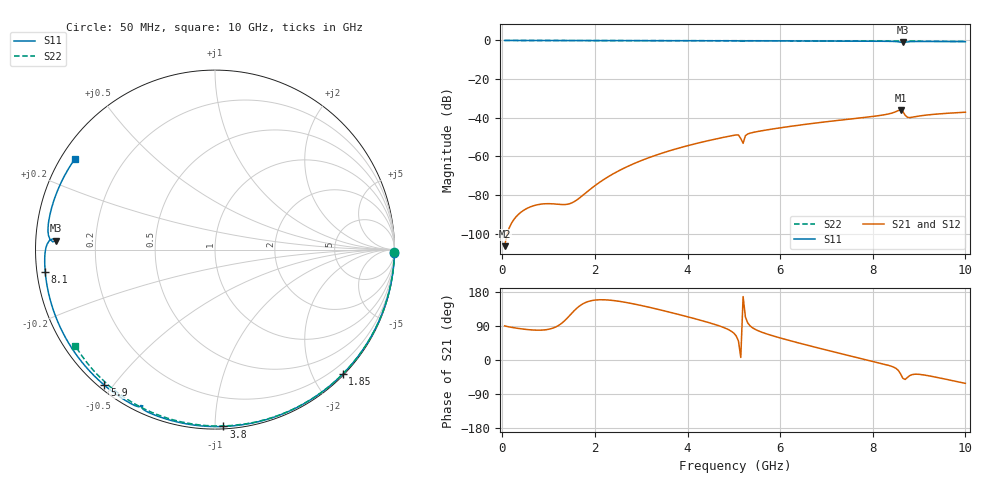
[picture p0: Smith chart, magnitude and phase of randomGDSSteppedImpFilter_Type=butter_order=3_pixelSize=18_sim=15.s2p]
! freq	dB(S11)	phase(S11)	dB(S12)	phase(S12)
!  dB(S21)	phase(S21)	dB(S22)	phase(S22)
!S-par simulation data
#  GHz  S  DB  R 50
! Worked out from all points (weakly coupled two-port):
!   200 points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, 50 MHz to 10 GHz, reference 50 ohm
!   highest |S21| = -35.93 dB at 8.6 GHz (marker M1); lowest = -106.4 dB at 50 MHz (marker M2)
!   lowest |S11| = -1.0 dB at 8.65 GHz (marker M3), VSWR 17.13, Z = 2.92 + j1.39 ohm
!   |S11| at or under -10 dB: nowhere
!   |S22| runs from -0.5 to 0.0 dB; largest |S21 - S12| = 0
!   S11 on the Smith chart (normalised r, x): 50 MHz: 0, -93; 1.85 GHz: 0.02, -2.46; 3.8 GHz: 0.01, -1.05; 5.9 GHz: 0.02, -0.48; 8.1 GHz: 0.02, -0.07; 10 GHz: 0.04, +0.30
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0.05  -0.00 -1.2  -106.37 90.1  -106.37 90.1  -0.00 -0.8
0.85  -0.03 -20.6  -84.57 78.9  -84.57 78.9  -0.02 -14.2
1.75  -0.05 -41.9  -79.85 148.9  -79.85 148.9  -0.04 -29.0
1.85  -0.06 -44.3  -77.89 154.1  -77.89 154.1  -0.04 -30.7
2.55  -0.08 -60.2  -66.96 154.4  -66.96 154.4  -0.05 -41.9
3.4  -0.10 -78.8  -58.65 132.6  -58.65 132.6  -0.07 -55.1
3.8  -0.12 -87.3  -55.73 120.5  -55.73 120.5  -0.08 -61.2
5.05  -0.19 -113.0  -48.87 63.7  -48.87 63.7  -0.12 -79.6
5.1  -0.21 -114.3  -48.88 49.9  -48.88 49.9  -0.13 -80.4
5.2  -0.36 -114.8  -53.19 167.3  -53.19 167.3  -0.13 -81.7
5.25  -0.23 -115.9  -49.21 113.1  -49.21 113.1  -0.13 -82.5
5.3  -0.20 -117.1  -48.36 97.7  -48.36 97.7  -0.13 -83.2
5.9  -0.22 -129.2  -45.54 61.7  -45.54 61.7  -0.16 -91.6
6.7  -0.28 -144.7  -42.89 35.5  -42.89 35.5  -0.20 -102.5
8.1  -0.41 -172.5  -38.98 -6.6  -38.98 -6.6  -0.30 -120.9
8.35  -0.46 -178.0  -37.95 -14.5  -37.95 -14.5  -0.32 -124.1
8.6  -0.88 176.1  -35.93 -36.5  -35.93 -36.5  -0.34 -127.4
8.65  -1.02 176.8  -36.78 -48.3  -36.78 -48.3  -0.34 -128.0
8.75  -0.71 176.4  -39.75 -45.8  -39.75 -45.8  -0.36 -129.3
8.8  -0.62 175.1  -39.88 -41.0  -39.88 -41.0  -0.36 -130.0
9.35  -0.55 162.2  -38.13 -45.0  -38.13 -45.0  -0.42 -137.0
10  -0.63 147.0  -37.11 -61.7  -37.11 -61.7  -0.49 -145.4
